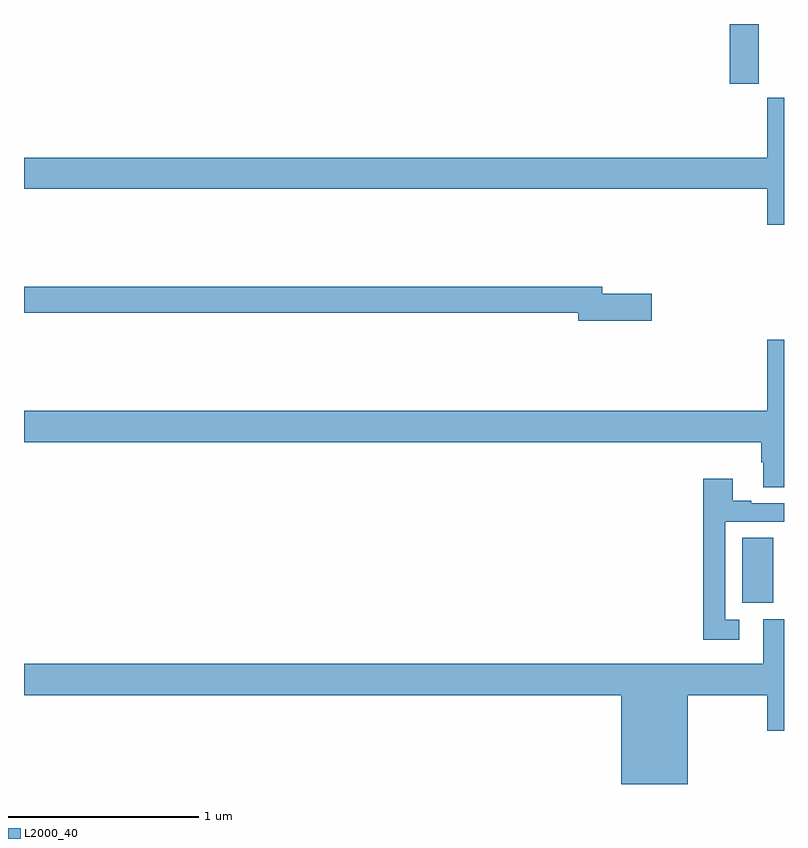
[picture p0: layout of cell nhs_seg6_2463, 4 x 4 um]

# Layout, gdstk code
import gdstk
lib = gdstk.Library(unit=1e-6, precision=1e-09)
def R(c, l, rs):  # rectangles x0, y0, x1, y1
    for r in rs: c.add(gdstk.rectangle(r[:2], r[2:], *l))
def P(c, l, *ps):  # polygons
    for p in ps: c.add(gdstk.Polygon(p, *l))
L2000_40 = (2000, 40)

nhs_seg6_2463 = lib.new_cell('nhs_seg6_2463')
R(nhs_seg6_2463, L2000_40, [(260.78,982.453,260.944,982.796), (260.714,985.185,260.866,985.5)])
P(nhs_seg6_2463, L2000_40, [(261,985.113),(260.912,985.113),(260.912,984.796),(257,984.796),(257,984.632),(260.912,984.632),(260.912,984.444),(261,984.444)],
  [(260.305,984.08),(260.044,984.08),(260.044,984.116),(257,984.116),(257,983.98),(259.916,983.98),(259.916,983.938),(260.305,983.938)],
  [(261,983.839),(260.912,983.839),(260.912,983.464),(257,983.464),(257,983.3),(260.879,983.3),(260.879,983.194),(260.891,983.194),(260.891,983.062),(261,983.062)],
  [(260.764,982.365),(260.691,982.365),(260.691,982.881),(261,982.881),(261,982.977),(260.827,982.977),(260.827,982.99),(260.731,982.99),(260.731,983.107),(260.575,983.107),(260.575,982.26),(260.764,982.26)],
  [(260.494,981.968),(260.912,981.968),(260.912,981.78),(261,981.78),(261,982.368),(260.891,982.368),(260.891,982.132),(257,982.132),(257,981.968),(260.144,981.968),(260.144,981.5),(260.494,981.5)])

lib.write_gds('nhs_seg6_2463.gds')
